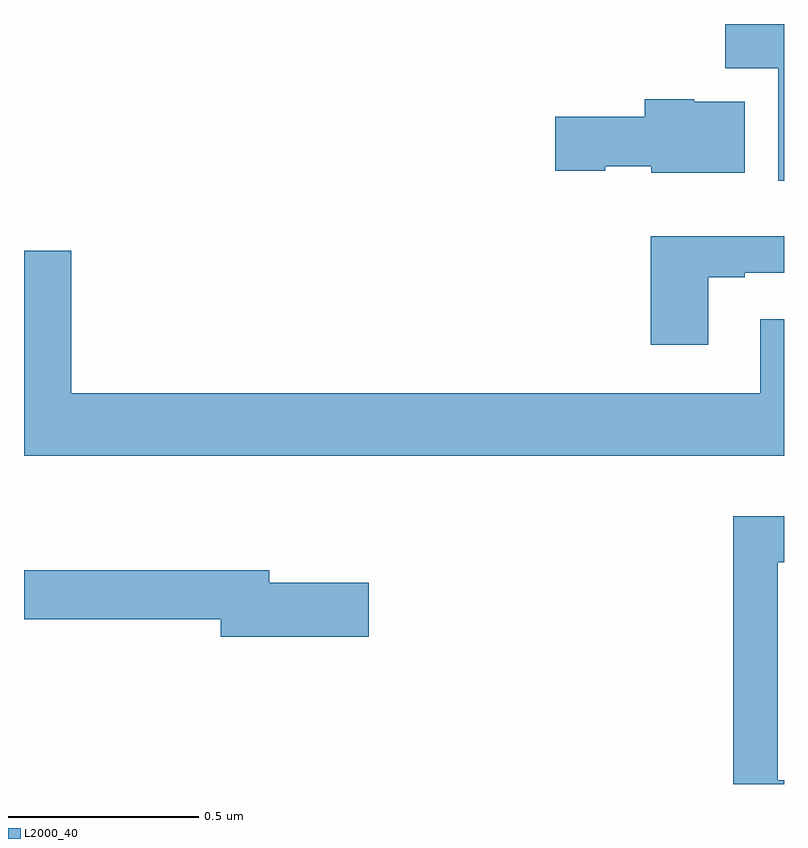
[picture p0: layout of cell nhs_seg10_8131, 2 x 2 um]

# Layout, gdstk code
import gdstk
lib = gdstk.Library(unit=1e-6, precision=1e-09)
def P(c, l, *ps):  # polygons
    for p in ps: c.add(gdstk.Polygon(p, *l))
L2000_40 = (2000, 40)

nhs_seg10_8131 = lib.new_cell('nhs_seg10_8131')
P(nhs_seg10_8131, L2000_40, [(215,1253.5),(214.846,1253.5),(214.846,1253.384),(214.985,1253.384),(214.985,1253.088),(215,1253.088)],
  [(214.897,1253.296),(214.764,1253.296),(214.764,1253.302),(214.634,1253.302),(214.634,1253.256),(214.398,1253.256),(214.398,1253.114),(214.53,1253.114),(214.53,1253.126),(214.65,1253.126),(214.65,1253.108),(214.897,1253.108)],
  [(214.801,1252.833),(214.897,1252.833),(214.897,1252.845),(215,1252.845),(215,1252.942),(214.649,1252.942),(214.649,1252.656),(214.801,1252.656)],
  [(215,1252.723),(214.937,1252.723),(214.937,1252.528),(213.124,1252.528),(213.124,1252.903),(213,1252.903),(213,1252.364),(215,1252.364)],
  [(215,1251.51),(214.984,1251.51),(214.984,1252.083),(215,1252.083),(215,1252.204),(214.866,1252.204),(214.866,1251.5),(215,1251.5)],
  [(213.907,1252.029),(213.646,1252.029),(213.646,1252.063),(213,1252.063),(213,1251.934),(213.518,1251.934),(213.518,1251.887),(213.907,1251.887)])

lib.write_gds('nhs_seg10_8131.gds')
